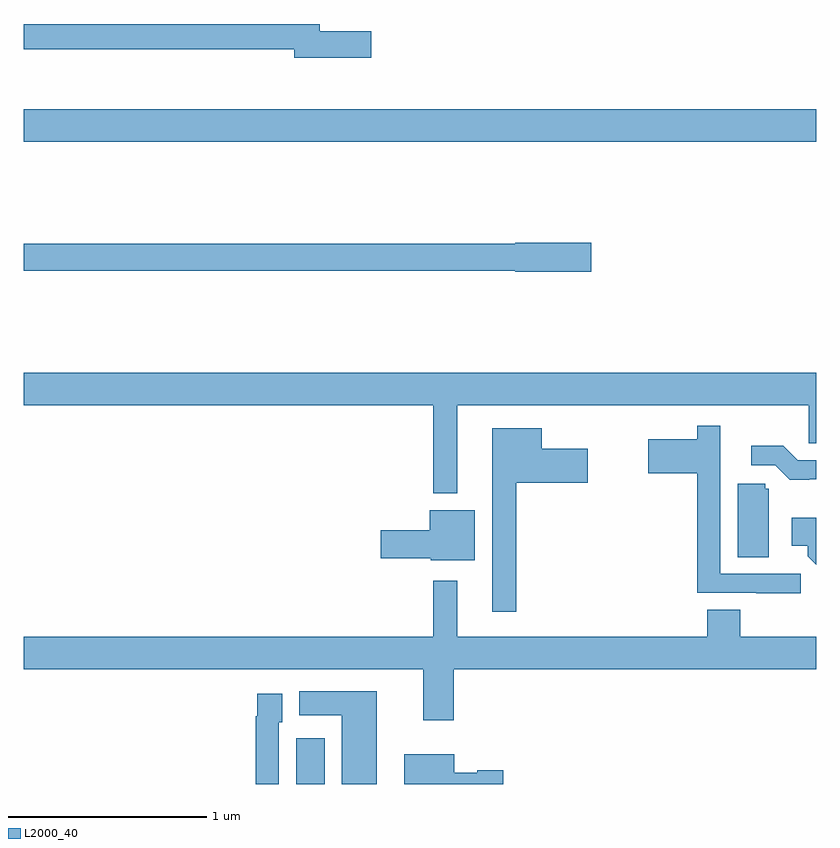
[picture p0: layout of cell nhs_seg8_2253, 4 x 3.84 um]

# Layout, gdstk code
import gdstk
lib = gdstk.Library(unit=1e-6, precision=1e-09)
def R(c, l, rs):  # rectangles x0, y0, x1, y1
    for r in rs: c.add(gdstk.rectangle(r[:2], r[2:], *l))
def P(c, l, *ps):  # polygons
    for p in ps: c.add(gdstk.Polygon(p, *l))
L2000_40 = (2000, 40)

nhs_seg8_2253 = lib.new_cell('nhs_seg8_2253')
R(nhs_seg8_2253, L2000_40, [(254.375,1135.9,254.518,1136.131), (253,1139.144,257,1139.308)])
P(nhs_seg8_2253, L2000_40, [(254.755,1139.702),(254.494,1139.702),(254.494,1139.738),(253,1139.738),(253,1139.61),(254.366,1139.61),(254.366,1139.567),(254.755,1139.567)],
  [(255.865,1138.634),(255.48,1138.634),(255.48,1138.628),(253,1138.628),(253,1138.492),(255.48,1138.492),(255.48,1138.487),(255.865,1138.487)],
  [(255.187,1137.812),(256.962,1137.812),(256.962,1137.622),(257,1137.622),(257,1137.976),(253,1137.976),(253,1137.812),(255.066,1137.812),(255.066,1137.368),(255.187,1137.368)],
  [(256.924,1136.961),(256.515,1136.961),(256.515,1137.486),(256.516,1137.486),(256.516,1137.709),(256.399,1137.709),(256.399,1137.64),(256.152,1137.64),(256.152,1137.47),(256.399,1137.47),(256.399,1136.865),(256.699,1136.865),(256.699,1136.863),(256.924,1136.863)],
  [(255.487,1137.422),(255.847,1137.422),(255.847,1137.592),(255.616,1137.592),(255.616,1137.697),(255.365,1137.697),(255.365,1136.769),(255.487,1136.769)],
  [(256.966,1137.438),(257,1137.438),(257,1137.534),(256.908,1137.534),(256.835,1137.607),(256.674,1137.607),(256.674,1137.51),(256.794,1137.51),(256.867,1137.437),(256.966,1137.437)],
  [(256.762,1137.39),(256.743,1137.39),(256.743,1137.417),(256.604,1137.417),(256.604,1137.046),(256.762,1137.046)],
  [(255.277,1137.283),(255.05,1137.283),(255.05,1137.182),(254.802,1137.182),(254.802,1137.04),(255.054,1137.04),(255.054,1137.029),(255.277,1137.029)],
  [(257,1137.244),(256.878,1137.244),(256.878,1137.104),(256.958,1137.104),(256.958,1137.049),(257,1137.007)],
  [(255.17,1136.48),(257,1136.48),(257,1136.644),(256.616,1136.644),(256.616,1136.78),(256.451,1136.78),(256.451,1136.644),(255.187,1136.644),(255.187,1136.926),(255.066,1136.926),(255.066,1136.644),(253,1136.644),(253,1136.48),(255.017,1136.48),(255.017,1136.223),(255.17,1136.223)],
  [(254.782,1136.368),(254.39,1136.368),(254.39,1136.246),(254.606,1136.246),(254.606,1135.9),(254.782,1135.9)],
  [(254.286,1136.211),(254.305,1136.211),(254.305,1136.356),(254.178,1136.356),(254.178,1136.243),(254.17,1136.243),(254.17,1135.9),(254.286,1135.9)],
  [(255.421,1135.97),(255.288,1135.97),(255.288,1135.957),(255.172,1135.957),(255.172,1136.05),(254.921,1136.05),(254.921,1135.9),(255.421,1135.9)])

lib.write_gds('nhs_seg8_2253.gds')
